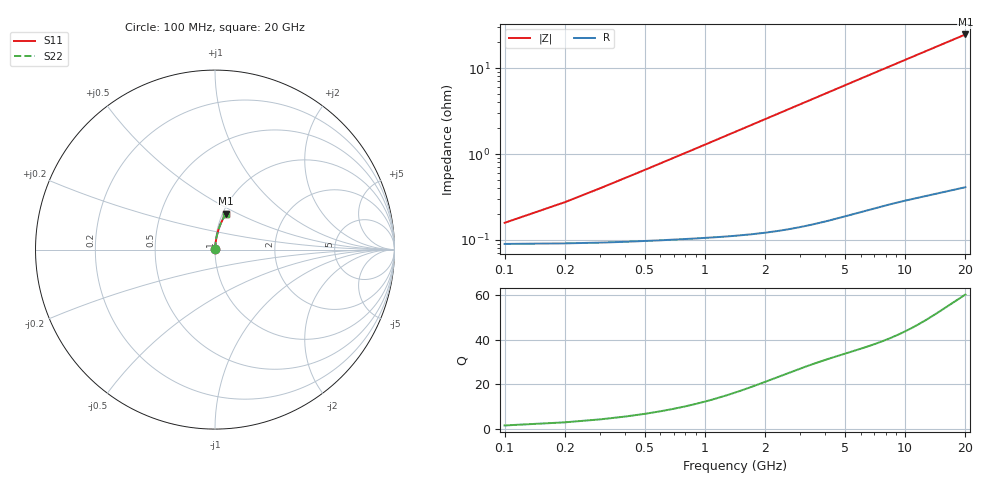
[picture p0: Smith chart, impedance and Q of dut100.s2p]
! Touchstone file exported from HFSS 2026.1.0
!  File:  C:/ffzhzh/LocalFiles/Ansys_Project_Files/temp_train_BSMRDL_100_1782985673_6248.aedt
!  Generated:  05:49:13 PM Jul  2, 2026
!  Design:  BSMRDL
!  Project:  temp_train_BSMRDL_100_1782985673_6248
! Variables:
!  h_bsmrdl = 5.69um
!  h_ox = 20um
!  h_rdl = 5um
!  h_sub = 80um
!  h_tmrdl = 5um
!  h_tsv = 80um
!  h_via = 3um
!  l_bsmrdl = 146.25um
!  l_sub = 546.25um
!  l_tmrdl = 200um
!  m_sub = 200um
!  pitch = 59.43um
!  r_tsv = 6um
!  s_tmrdl = 10um
!  w_bsmrdl = 11.32um
!  w_sub = 500um
!  w_tmrdl = 12um
!  x_tsv_center1 = 206um
!  x_tsv_center2 = 363.57um
!  x_tsv_center3 = 575.57um
!  x_tsv_center4 = 733.14um
!  x_tsv_center5 = 945.14um
!  x_tsv_center6 = 1102.71um
# GHz S MA R 50.000000
! Terminal data exported
! Port[1] = BSM_RDL1_1_T1
! Port[2] = BSM_RDL1_1_T2
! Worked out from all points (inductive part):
!   200 points, 100 MHz to 20 GHz, reference 50 ohm
!   read as one part in series: L = 205 pH near 300 MHz
!   highest Q = 60.2 at 20 GHz (marker M1), where L = 197 pH
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0.1  0.001446 51.6  0.9991 -0.1  0.9991 -0.1  0.001446 51.6
! Gamma 0 0 0 0
! Port Impedance 50 0 50 0
0.2  0.00244 67.9  0.9991 -0.2  0.9991 -0.2  0.00244 67.9
0.3  0.003511 74.4  0.9991 -0.3  0.9991 -0.3  0.003511 74.4
0.4  0.0046 77.8  0.999 -0.3  0.999 -0.3  0.0046 77.8
0.5  0.005695 79.8  0.999 -0.4  0.999 -0.4  0.005695 79.8
0.7  0.007889 82.1  0.999 -0.6  0.999 -0.6  0.007889 82.1
0.8  0.008988 82.8  0.9989 -0.7  0.9989 -0.7  0.008988 82.8
1  0.01119 83.8  0.9989 -0.8  0.9989 -0.8  0.01119 83.8
1.2  0.01339 84.4  0.9988 -1.0  0.9988 -1.0  0.01339 84.4
1.4  0.01559 84.8  0.9988 -1.2  0.9988 -1.2  0.01559 84.8
1.7  0.01889 85.1  0.9987 -1.4  0.9987 -1.4  0.01889 85.1
2  0.02219 85.3  0.9985 -1.6  0.9985 -1.6  0.02219 85.3
2.7  0.02986 85.2  0.9982 -2.2  0.9982 -2.2  0.02986 85.2
3.5  0.03858 84.9  0.9977 -2.9  0.9977 -2.9  0.03858 84.9
4.2  0.04617 84.5  0.9973 -3.4  0.9973 -3.4  0.04617 84.5
5  0.05479 84.0  0.9966 -4.1  0.9966 -4.1  0.05479 84.0
6.8  0.07401 82.7  0.995 -5.5  0.995 -5.5  0.07401 82.7
8.3  0.08987 81.7  0.9934 -6.7  0.9934 -6.7  0.08987 81.7
10.1  0.1087 80.4  0.9912 -8.1  0.9912 -8.1  0.1087 80.4
13.4  0.1428 78.0  0.9865 -10.7  0.9865 -10.7  0.1428 78.0
16.7  0.1762 75.5  0.9807 -13.3  0.9807 -13.3  0.1762 75.5
20  0.2088 73.1  0.974 -15.8  0.974 -15.8  0.2088 73.1
